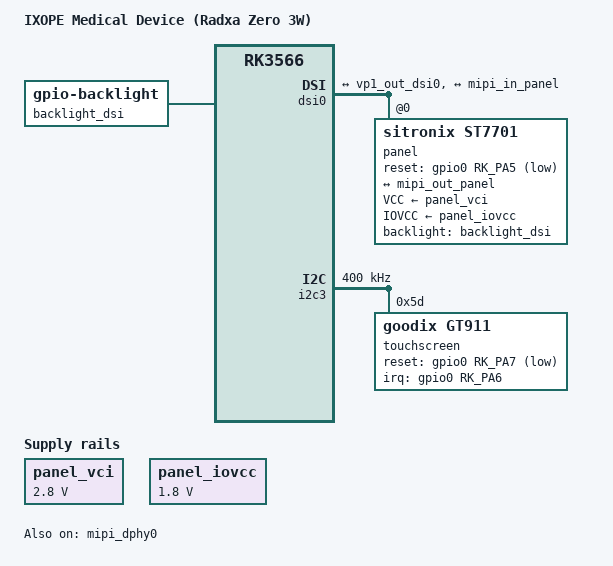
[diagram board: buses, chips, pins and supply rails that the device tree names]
// SPDX-License-Identifier: (GPL-2.0+ OR MIT)
// IXOPE Medical Device — Radxa Zero 3W with ST7701S 480x480 DSI panel
// Uses official Radxa Zero 3W DTS as base (from radxa/kernel linux-5.10-gen-rkr8-buildroot)

/dts-v1/;

#include <dt-bindings/gpio/gpio.h>
#include <dt-bindings/pinctrl/rockchip.h>
#include <dt-bindings/soc/rockchip,vop2.h>

// Include the official Radxa Zero 3W device tree (AP6212 variant — SDIO bus config is the same for AIC8800)
#include "rk3566-radxa-zero-3w-ap6212.dts"

/ {
	model = "IXOPE Medical Device (Radxa Zero 3W)";
	compatible = "radxa,zero-3w", "rockchip,rk3566";

	/* Panel backlight — GPIO-controlled enable */
	backlight_dsi: backlight-dsi {
		compatible = "gpio-backlight";
		status = "okay";
	};

	/* Panel VCI power — 2.8V fixed regulator */
	panel_vci: panel-vci-regulator {
		compatible = "regulator-fixed";
		regulator-name = "panel_vci";
		regulator-min-microvolt = <2800000>;
		regulator-max-microvolt = <2800000>;
		regulator-boot-on;
		regulator-always-on;
	};

	/* Panel IOVCC power — 1.8V fixed regulator */
	panel_iovcc: panel-iovcc-regulator {
		compatible = "regulator-fixed";
		regulator-name = "panel_iovcc";
		regulator-min-microvolt = <1800000>;
		regulator-max-microvolt = <1800000>;
		regulator-boot-on;
		regulator-always-on;
	};
};

/* ═══════════════════════════════════════════════════════════════
 * MIPI DSI0 — ST7701S 480x480 round panel
 * ═══════════════════════════════════════════════════════════════ */
&dsi0 {
	status = "okay";
	#address-cells = <1>;
	#size-cells = <0>;

	ports {
		#address-cells = <1>;
		#size-cells = <0>;

		port@0 {
			reg = <0>;
			#address-cells = <1>;
			#size-cells = <0>;

			dsi0_in_vp1: endpoint@0 {
				reg = <0>;
				remote-endpoint = <&vp1_out_dsi0>;
			};
		};

		port@1 {
			reg = <1>;
			#address-cells = <1>;
			#size-cells = <0>;

			mipi_out_panel: endpoint {
				remote-endpoint = <&mipi_in_panel>;
			};
		};
	};

	panel@0 {
		compatible = "sitronix,st7701";
		reg = <0>;
		backlight = <&backlight_dsi>;
		reset-gpios = <&gpio0 RK_PA5 GPIO_ACTIVE_LOW>;
		VCC-supply = <&panel_vci>;
		IOVCC-supply = <&panel_iovcc>;

		port {
			mipi_in_panel: endpoint {
				remote-endpoint = <&mipi_out_panel>;
			};
		};
	};
};

/* MIPI D-PHY for DSI0 */
&mipi_dphy0 {
	status = "okay";
};

/* VOP2 — route VP1 to DSI0 for the panel */
&vp1 {
	vp1_out_dsi0: endpoint@ROCKCHIP_VOP2_EP_MIPI0 {
		reg = <ROCKCHIP_VOP2_EP_MIPI0>;
		remote-endpoint = <&dsi0_in_vp1>;
	};
};

/* ═══════════════════════════════════════════════════════════════
 * I2C — Touchscreen on I2C3 (adjust bus/address for your panel)
 * ═══════════════════════════════════════════════════════════════ */
&i2c3 {
	status = "okay";
	clock-frequency = <400000>;

	touchscreen@5d {
		compatible = "goodix,gt911";
		reg = <0x5d>;
		interrupt-parent = <&gpio0>;
		interrupts = <RK_PA6 4>; /* IRQ_TYPE_LEVEL_LOW */
		reset-gpios = <&gpio0 RK_PA7 GPIO_ACTIVE_LOW>;
		irq-gpios = <&gpio0 RK_PA6 GPIO_ACTIVE_HIGH>;
		touchscreen-size-x = <480>;
		touchscreen-size-y = <480>;
	};
};
